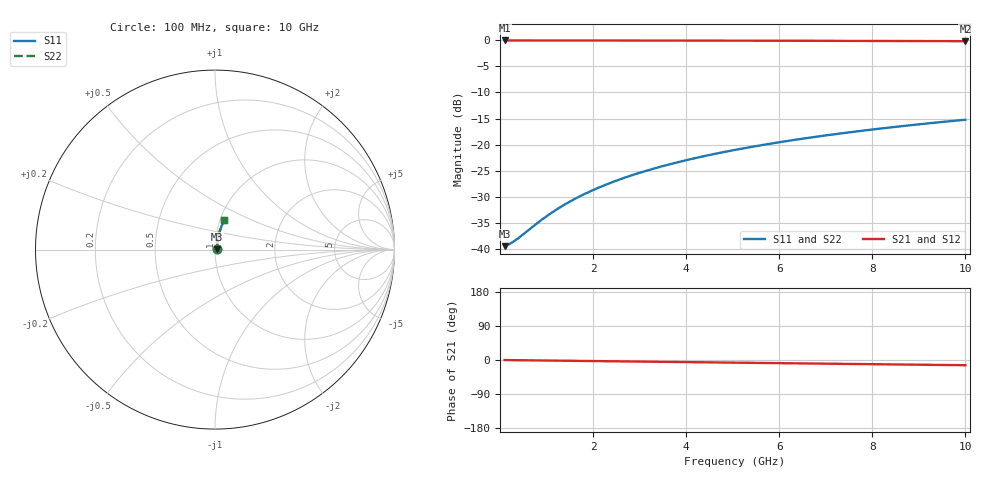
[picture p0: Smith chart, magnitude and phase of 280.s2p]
# Hz S RI R 50.00
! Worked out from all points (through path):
!   100 points, 100 MHz to 10 GHz, reference 50 ohm
!   highest |S21| = -0.09 dB at 100 MHz (marker M1); lowest = -0.2 dB at 10 GHz (marker M2)
!   group delay of S21, straight-line fit = 3.83 ps
!   lowest |S11| = -39.4 dB at 100 MHz (marker M3), VSWR 1.02, Z = 51.1 + j0.177 ohm
!   |S11| at or under -10 dB: start of sweep to end of sweep
!   |S22| runs from -39.4 to -15.2 dB; largest |S21 - S12| = 0
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1e8  0.0106 0.00174  0.9894 -0.0024  0.9894 -0.0024  0.0106 0.00174
2e8  0.0107 0.00347  0.9893 -0.0048  0.9893 -0.0048  0.0107 0.00347
3e8  0.0108 0.00521  0.9892 -0.0072  0.9892 -0.0072  0.0108 0.00521
4e8  0.0108 0.00694  0.9892 -0.0096  0.9892 -0.0096  0.0108 0.00694
9e8  0.0112 0.0156  0.9887 -0.0216  0.9887 -0.0216  0.0112 0.0156
1.2e9  0.0116 0.0208  0.9884 -0.0288  0.9884 -0.0288  0.0116 0.0208
1.5e9  0.012 0.026  0.988 -0.036  0.988 -0.036  0.012 0.026
1.8e9  0.0124 0.0312  0.9875 -0.0431  0.9875 -0.0431  0.0124 0.0312
2.1e9  0.013 0.0363  0.9869 -0.0503  0.9869 -0.0503  0.013 0.0363
2.5e9  0.0138 0.0432  0.9861 -0.0598  0.9861 -0.0598  0.0138 0.0432
2.9e9  0.0147 0.0501  0.9851 -0.0693  0.9851 -0.0693  0.0147 0.0501
3.4e9  0.0161 0.0586  0.9836 -0.0812  0.9836 -0.0812  0.0161 0.0586
3.8e9  0.0173 0.0654  0.9823 -0.0907  0.9823 -0.0907  0.0173 0.0654
4.2e9  0.0187 0.0722  0.9809 -0.1001  0.9809 -0.1001  0.0187 0.0722
4.6e9  0.0202 0.0789  0.9793 -0.1095  0.9793 -0.1095  0.0202 0.0789
5.1e9  0.0222 0.0873  0.9771 -0.1212  0.9771 -0.1212  0.0222 0.0873
5.9e9  0.0259 0.1005  0.9733 -0.1398  0.9733 -0.1398  0.0259 0.1005
6.7e9  0.0301 0.1136  0.9689 -0.1582  0.9689 -0.1582  0.0301 0.1136
7.5e9  0.0348 0.1265  0.9639 -0.1764  0.9639 -0.1764  0.0348 0.1265
8.4e9  0.0406 0.1407  0.9578 -0.1966  0.9578 -0.1966  0.0406 0.1407
9.2e9  0.0462 0.153  0.9518 -0.2143  0.9518 -0.2143  0.0462 0.153
1e10  0.0523 0.1651  0.9454 -0.2318  0.9454 -0.2318  0.0523 0.1651
